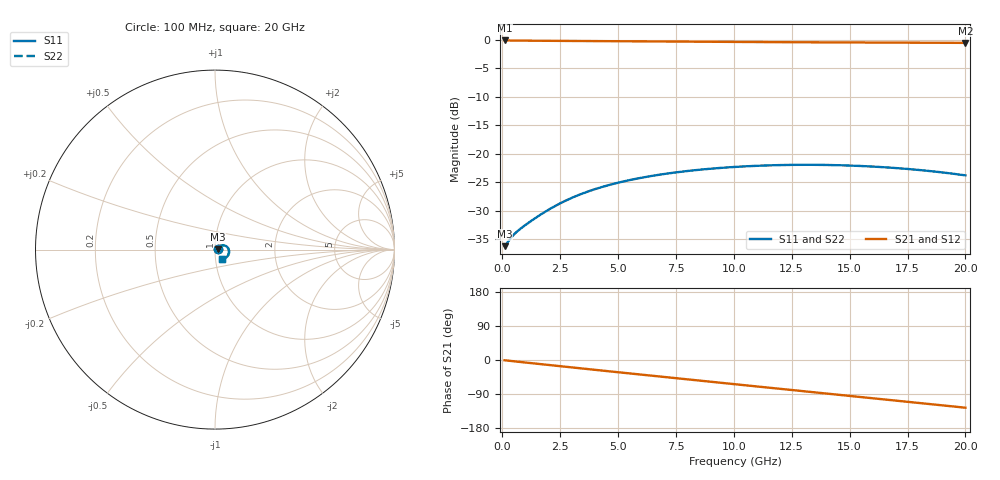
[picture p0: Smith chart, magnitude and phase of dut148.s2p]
! Touchstone file exported from HFSS 2026.1.0
!  File:  C:/ffzhzh/LocalFiles/Ansys_Project_Files/temp_train_TSV_RDL_148_1783051620_18316.aedt
!  Generated:  12:17:21 PM Jul  3, 2026
!  Design:  TSV_RDL
!  Project:  temp_train_TSV_RDL_148_1783051620_18316
! Variables:
!  h_bsmrdl = 2.08um
!  h_ox = 20um
!  h_rdl = 5um
!  h_sub = 87.63um
!  h_tmrdl = 5.55um
!  h_tsv = 87.63um
!  h_via = 3um
!  l_bsmrdl = 166.64um
!  l_sub = 1903.09um
!  l_tmrdl = 231.15um
!  m_sub = 200um
!  pitch = 17.93um
!  r_tsv = 4.36um
!  s_tmrdl = 10um
!  w_bsmrdl = 12.83um
!  w_sub = 500um
!  w_tmrdl = 13.36um
!  x_tsv_center1 = 237.83um
!  x_tsv_center2 = 417.3um
!  x_tsv_center3 = 661.81um
!  x_tsv_center4 = 841.28um
!  x_tsv_center5 = 1085.79um
!  x_tsv_center6 = 1265.26um
# GHz S MA R 50.000000
! Terminal data exported
! Port[1] = TM_RDL1_1_T1
! Port[2] = TM_RDL5_1_T1
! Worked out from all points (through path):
!   200 points, 100 MHz to 20 GHz, reference 50 ohm
!   highest |S21| = -0.13 dB at 100 MHz (marker M1); lowest = -0.6 dB at 20 GHz (marker M2)
!   group delay of S21, straight-line fit = 17.4 ps
!   lowest |S11| = -36.2 dB at 100 MHz (marker M3), VSWR 1.03, Z = 51.6 + j0.205 ohm
!   |S11| at or under -10 dB: start of sweep to end of sweep
!   |S22| runs from -36.2 to -21.9 dB; largest |S21 - S12| = 6.6e-14
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0.1  0.01554 7.3  0.9846 -0.7  0.9846 -0.7  0.01554 7.3
! Gamma 0 0 0 0
! Port Impedance 50 0 50 0
0.4  0.01867 19.4  0.9827 -2.8  0.9827 -2.8  0.01867 19.4
0.6  0.02055 22.9  0.9816 -4.1  0.9816 -4.1  0.02055 22.9
0.9  0.02302 26.7  0.9805 -6.0  0.9805 -6.0  0.02302 26.7
1.4  0.02716 31.1  0.9791 -9.3  0.9791 -9.3  0.02716 31.1
1.9  0.03155 33.3  0.9776 -12.5  0.9776 -12.5  0.03155 33.3
2.4  0.03599 33.8  0.976 -15.7  0.976 -15.7  0.03599 33.8
2.9  0.04032 33.2  0.9743 -18.9  0.9743 -18.9  0.04032 33.2
3.5  0.04524 31.5  0.9723 -22.8  0.9723 -22.8  0.04524 31.5
4.2  0.05051 28.8  0.9699 -27.2  0.9699 -27.2  0.05051 28.8
5  0.05589 25.2  0.9674 -32.3  0.9674 -32.3  0.05589 25.2
5.9  0.06119 20.8  0.9647 -38.0  0.9647 -38.0  0.06119 20.8
6.8  0.06575 16.2  0.9622 -43.6  0.9622 -43.6  0.06575 16.2
8.5  0.07256 7.4  0.958 -54.2  0.958 -54.2  0.07256 7.4
10.1  0.07696 -1.0  0.9546 -64.2  0.9546 -64.2  0.07696 -1.0
11.8  0.07959 -10.1  0.9512 -74.8  0.9512 -74.8  0.07959 -10.0
13.4  0.08019 -18.6  0.9483 -84.8  0.9483 -84.8  0.08019 -18.6
15  0.079 -27.1  0.9456 -94.8  0.9456 -94.8  0.079 -27.1
15.8  0.07776 -31.3  0.9443 -99.8  0.9443 -99.8  0.07776 -31.3
16.7  0.07588 -36.0  0.9428 -105.4  0.9428 -105.4  0.07588 -36.0
18.3  0.07128 -44.3  0.9403 -115.3  0.9403 -115.3  0.07128 -44.2
20  0.06481 -52.7  0.9377 -125.9  0.9377 -125.9  0.06481 -52.7
